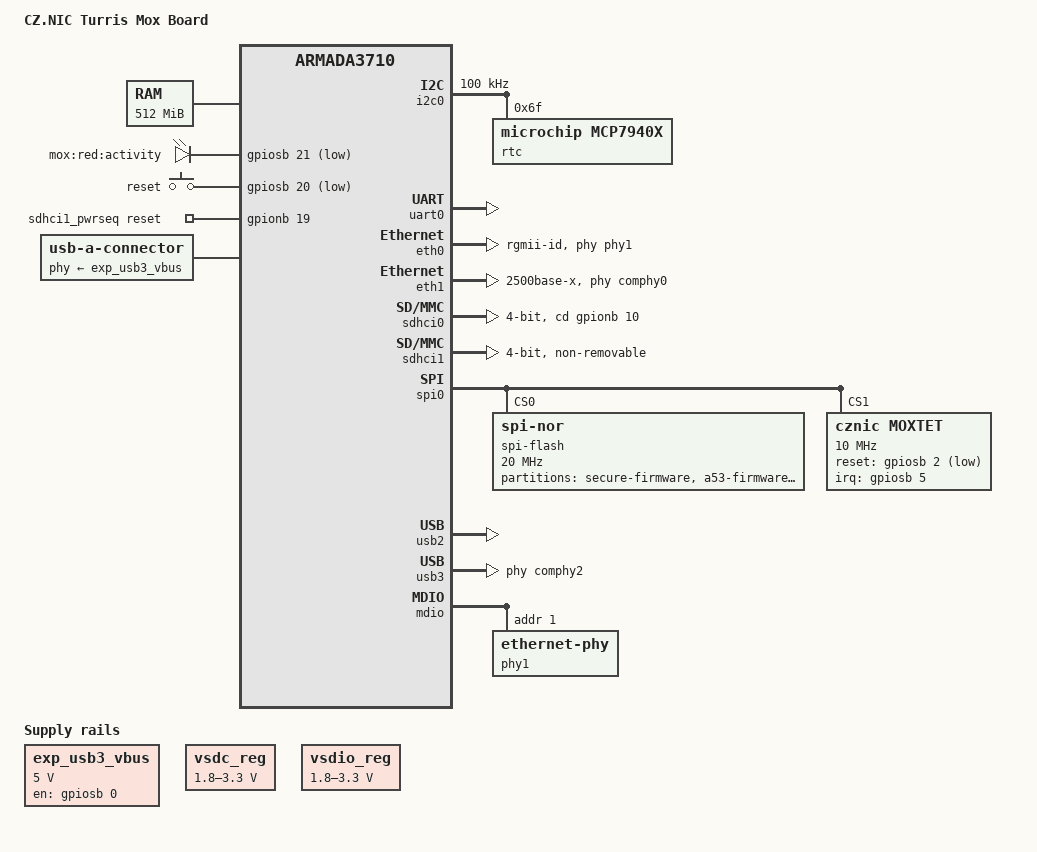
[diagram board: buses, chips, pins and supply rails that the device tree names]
// SPDX-License-Identifier: (GPL-2.0+ OR MIT)
/*
 * Device Tree file for CZ.NIC Turris Mox Board
 * 2019 by Marek Behún <kabel@kernel.org>
 */

/dts-v1/;

#include <dt-bindings/bus/moxtet.h>
#include <dt-bindings/gpio/gpio.h>
#include <dt-bindings/input/input.h>
#include "armada-372x.dtsi"

/ {
	model = "CZ.NIC Turris Mox Board";
	compatible = "cznic,turris-mox", "marvell,armada3720",
		     "marvell,armada3710";

	aliases {
		spi0 = &spi0;
		ethernet1 = &eth1;
		mmc0 = &sdhci0;
		mmc1 = &sdhci1;
	};

	chosen {
		stdout-path = "serial0:115200n8";
	};

	memory@0 {
		device_type = "memory";
		reg = <0x00000000 0x00000000 0x00000000 0x20000000>;
	};

	leds {
		compatible = "gpio-leds";
		red {
			label = "mox:red:activity";
			gpios = <&gpiosb 21 GPIO_ACTIVE_LOW>;
			linux,default-trigger = "default-on";
		};
	};

	gpio-keys {
		compatible = "gpio-keys";

		reset {
			label = "reset";
			linux,code = <KEY_RESTART>;
			gpios = <&gpiosb 20 GPIO_ACTIVE_LOW>;
			debounce-interval = <60>;
		};
	};

	exp_usb3_vbus: usb3-vbus {
		compatible = "regulator-fixed";
		regulator-name = "usb3-vbus";
		regulator-min-microvolt = <5000000>;
		regulator-max-microvolt = <5000000>;
		enable-active-high;
		regulator-always-on;
		gpio = <&gpiosb 0 GPIO_ACTIVE_HIGH>;
	};

	vsdc_reg: vsdc-reg {
		compatible = "regulator-gpio";
		regulator-name = "vsdc";
		regulator-min-microvolt = <1800000>;
		regulator-max-microvolt = <3300000>;
		regulator-boot-on;

		gpios = <&gpiosb 23 GPIO_ACTIVE_HIGH>;
		gpios-states = <0>;
		states = <1800000 0x1
			  3300000 0x0>;
		enable-active-high;
	};

	vsdio_reg: vsdio-reg {
		compatible = "regulator-gpio";
		regulator-name = "vsdio";
		regulator-min-microvolt = <1800000>;
		regulator-max-microvolt = <3300000>;
		regulator-boot-on;

		gpios = <&gpiosb 22 GPIO_ACTIVE_HIGH>;
		gpios-states = <0>;
		states = <1800000 0x1
			  3300000 0x0>;
		enable-active-high;
	};

	sdhci1_pwrseq: sdhci1-pwrseq {
		compatible = "mmc-pwrseq-simple";
		reset-gpios = <&gpionb 19 GPIO_ACTIVE_HIGH>;
		status = "okay";
	};

	sfp: sfp {
		compatible = "sff,sfp";
		i2c-bus = <&i2c0>;
		los-gpio = <&moxtet_sfp 0 GPIO_ACTIVE_HIGH>;
		tx-fault-gpio = <&moxtet_sfp 1 GPIO_ACTIVE_HIGH>;
		mod-def0-gpio = <&moxtet_sfp 2 GPIO_ACTIVE_LOW>;
		tx-disable-gpio = <&moxtet_sfp 4 GPIO_ACTIVE_HIGH>;
		rate-select0-gpio = <&moxtet_sfp 5 GPIO_ACTIVE_HIGH>;
		maximum-power-milliwatt = <3000>;

		/* enabled by U-Boot if SFP module is present */
		status = "disabled";
	};

	firmware {
		armada-3700-rwtm {
			compatible = "marvell,armada-3700-rwtm-firmware", "cznic,turris-mox-rwtm";
		};
	};
};

&i2c0 {
	pinctrl-names = "default";
	pinctrl-0 = <&i2c1_pins>;
	clock-frequency = <100000>;
	status = "okay";

	rtc@6f {
		compatible = "microchip,mcp7940x";
		reg = <0x6f>;
	};
};

&pcie0 {
	pinctrl-names = "default";
	pinctrl-0 = <&pcie_reset_pins &pcie_clkreq_pins>;
	status = "okay";
	reset-gpios = <&gpiosb 3 GPIO_ACTIVE_LOW>;

	/* enabled by U-Boot if PCIe module is present */
	status = "disabled";
};

&uart0 {
	status = "okay";
};

&eth0 {
	pinctrl-names = "default";
	pinctrl-0 = <&rgmii_pins>;
	phy-mode = "rgmii-id";
	phy-handle = <&phy1>;
	status = "okay";
};

&eth1 {
	phy-mode = "2500base-x";
	managed = "in-band-status";
	phys = <&comphy0 1>;
};

&sdhci0 {
	wp-inverted;
	bus-width = <4>;
	cd-gpios = <&gpionb 10 GPIO_ACTIVE_HIGH>;
	vqmmc-supply = <&vsdc_reg>;
	marvell,pad-type = "sd";
	status = "okay";
};

&sdhci1 {
	pinctrl-names = "default";
	pinctrl-0 = <&sdio_pins>;
	non-removable;
	bus-width = <4>;
	marvell,pad-type = "sd";
	vqmmc-supply = <&vsdio_reg>;
	mmc-pwrseq = <&sdhci1_pwrseq>;
	/* forbid SDR104 for FCC purposes */
	sdhci-caps-mask = <0x2 0x0>;
	status = "okay";
};

&spi0 {
	status = "okay";
	pinctrl-names = "default";
	pinctrl-0 = <&spi_quad_pins &spi_cs1_pins>;
	assigned-clocks = <&nb_periph_clk 7>;
	assigned-clock-parents = <&tbg 1>;
	assigned-clock-rates = <20000000>;

	spi-flash@0 {
		#address-cells = <1>;
		#size-cells = <1>;
		compatible = "jedec,spi-nor";
		reg = <0>;
		spi-max-frequency = <20000000>;

		partitions {
			compatible = "fixed-partitions";
			#address-cells = <1>;
			#size-cells = <1>;

			partition@0 {
				label = "secure-firmware";
				reg = <0x0 0x20000>;
			};

			partition@20000 {
				label = "a53-firmware";
				reg = <0x20000 0x160000>;
			};

			partition@180000 {
				label = "u-boot-env";
				reg = <0x180000 0x10000>;
			};

			partition@190000 {
				label = "Rescue system";
				reg = <0x190000 0x660000>;
			};

			partition@7f0000 {
				label = "dtb";
				reg = <0x7f0000 0x10000>;
			};
		};
	};

	moxtet: moxtet@1 {
		#address-cells = <1>;
		#size-cells = <0>;
		compatible = "cznic,moxtet";
		reg = <1>;
		reset-gpios = <&gpiosb 2 GPIO_ACTIVE_LOW>;
		spi-max-frequency = <10000000>;
		spi-cpol;
		spi-cpha;
		interrupt-controller;
		#interrupt-cells = <1>;
		interrupt-parent = <&gpiosb>;
		interrupts = <5 IRQ_TYPE_EDGE_FALLING>;
		status = "okay";

		moxtet_sfp: gpio@0 {
			compatible = "cznic,moxtet-gpio";
			gpio-controller;
			#gpio-cells = <2>;
			reg = <0>;
			status = "disabled";
		};
	};
};

&usb2 {
	status = "okay";
};

&comphy2 {
	connector {
		compatible = "usb-a-connector";
		phy-supply = <&exp_usb3_vbus>;
	};
};

&usb3 {
	status = "okay";
	phys = <&comphy2 0>;
};

&mdio {
	pinctrl-names = "default";
	pinctrl-0 = <&smi_pins>;
	status = "okay";

	phy1: ethernet-phy@1 {
		reg = <1>;
	};

	/* switch nodes are enabled by U-Boot if modules are present */
	switch0@10 {
		compatible = "marvell,mv88e6190";
		reg = <0x10 0>;
		dsa,member = <0 0>;
		interrupt-parent = <&moxtet>;
		interrupts = <MOXTET_IRQ_PERIDOT(0)>;
		status = "disabled";

		mdio {
			#address-cells = <1>;
			#size-cells = <0>;

			switch0phy1: switch0phy1@1 {
				reg = <0x1>;
			};

			switch0phy2: switch0phy2@2 {
				reg = <0x2>;
			};

			switch0phy3: switch0phy3@3 {
				reg = <0x3>;
			};

			switch0phy4: switch0phy4@4 {
				reg = <0x4>;
			};

			switch0phy5: switch0phy5@5 {
				reg = <0x5>;
			};

			switch0phy6: switch0phy6@6 {
				reg = <0x6>;
			};

			switch0phy7: switch0phy7@7 {
				reg = <0x7>;
			};

			switch0phy8: switch0phy8@8 {
				reg = <0x8>;
			};
		};

		ports {
			#address-cells = <1>;
			#size-cells = <0>;

			port@1 {
				reg = <0x1>;
				label = "lan1";
				phy-handle = <&switch0phy1>;
			};

			port@2 {
				reg = <0x2>;
				label = "lan2";
				phy-handle = <&switch0phy2>;
			};

			port@3 {
				reg = <0x3>;
				label = "lan3";
				phy-handle = <&switch0phy3>;
			};

			port@4 {
				reg = <0x4>;
				label = "lan4";
				phy-handle = <&switch0phy4>;
			};

			port@5 {
				reg = <0x5>;
				label = "lan5";
				phy-handle = <&switch0phy5>;
			};

			port@6 {
				reg = <0x6>;
				label = "lan6";
				phy-handle = <&switch0phy6>;
			};

			port@7 {
				reg = <0x7>;
				label = "lan7";
				phy-handle = <&switch0phy7>;
			};

			port@8 {
				reg = <0x8>;
				label = "lan8";
				phy-handle = <&switch0phy8>;
			};

			port@9 {
				reg = <0x9>;
				label = "cpu";
				ethernet = <&eth1>;
				phy-mode = "2500base-x";
				managed = "in-band-status";
			};

			switch0port10: port@a {
				reg = <0xa>;
				label = "dsa";
				phy-mode = "2500base-x";
				managed = "in-band-status";
				link = <&switch1port9 &switch2port9>;
				status = "disabled";
			};

			port-sfp@a {
				reg = <0xa>;
				label = "sfp";
				sfp = <&sfp>;
				phy-mode = "sgmii";
				managed = "in-band-status";
				status = "disabled";
			};
		};
	};

	switch0@2 {
		compatible = "marvell,mv88e6085";
		reg = <0x2 0>;
		dsa,member = <0 0>;
		interrupt-parent = <&moxtet>;
		interrupts = <MOXTET_IRQ_TOPAZ>;
		status = "disabled";

		mdio {
			#address-cells = <1>;
			#size-cells = <0>;

			switch0phy1_topaz: switch0phy1@11 {
				reg = <0x11>;
			};

			switch0phy2_topaz: switch0phy2@12 {
				reg = <0x12>;
			};

			switch0phy3_topaz: switch0phy3@13 {
				reg = <0x13>;
			};

			switch0phy4_topaz: switch0phy4@14 {
				reg = <0x14>;
			};
		};

		ports {
			#address-cells = <1>;
			#size-cells = <0>;

			port@1 {
				reg = <0x1>;
				label = "lan1";
				phy-handle = <&switch0phy1_topaz>;
			};

			port@2 {
				reg = <0x2>;
				label = "lan2";
				phy-handle = <&switch0phy2_topaz>;
			};

			port@3 {
				reg = <0x3>;
				label = "lan3";
				phy-handle = <&switch0phy3_topaz>;
			};

			port@4 {
				reg = <0x4>;
				label = "lan4";
				phy-handle = <&switch0phy4_topaz>;
			};

			port@5 {
				reg = <0x5>;
				label = "cpu";
				phy-mode = "2500base-x";
				managed = "in-band-status";
				ethernet = <&eth1>;
			};
		};
	};

	switch1@11 {
		compatible = "marvell,mv88e6190";
		reg = <0x11 0>;
		dsa,member = <0 1>;
		interrupt-parent = <&moxtet>;
		interrupts = <MOXTET_IRQ_PERIDOT(1)>;
		status = "disabled";

		mdio {
			#address-cells = <1>;
			#size-cells = <0>;

			switch1phy1: switch1phy1@1 {
				reg = <0x1>;
			};

			switch1phy2: switch1phy2@2 {
				reg = <0x2>;
			};

			switch1phy3: switch1phy3@3 {
				reg = <0x3>;
			};

			switch1phy4: switch1phy4@4 {
				reg = <0x4>;
			};

			switch1phy5: switch1phy5@5 {
				reg = <0x5>;
			};

			switch1phy6: switch1phy6@6 {
				reg = <0x6>;
			};

			switch1phy7: switch1phy7@7 {
				reg = <0x7>;
			};

			switch1phy8: switch1phy8@8 {
				reg = <0x8>;
			};
		};

		ports {
			#address-cells = <1>;
			#size-cells = <0>;

			port@1 {
				reg = <0x1>;
				label = "lan9";
				phy-handle = <&switch1phy1>;
			};

			port@2 {
				reg = <0x2>;
				label = "lan10";
				phy-handle = <&switch1phy2>;
			};

			port@3 {
				reg = <0x3>;
				label = "lan11";
				phy-handle = <&switch1phy3>;
			};

			port@4 {
				reg = <0x4>;
				label = "lan12";
				phy-handle = <&switch1phy4>;
			};

			port@5 {
				reg = <0x5>;
				label = "lan13";
				phy-handle = <&switch1phy5>;
			};

			port@6 {
				reg = <0x6>;
				label = "lan14";
				phy-handle = <&switch1phy6>;
			};

			port@7 {
				reg = <0x7>;
				label = "lan15";
				phy-handle = <&switch1phy7>;
			};

			port@8 {
				reg = <0x8>;
				label = "lan16";
				phy-handle = <&switch1phy8>;
			};

			switch1port9: port@9 {
				reg = <0x9>;
				label = "dsa";
				phy-mode = "2500base-x";
				managed = "in-band-status";
				link = <&switch0port10>;
			};

			switch1port10: port@a {
				reg = <0xa>;
				label = "dsa";
				phy-mode = "2500base-x";
				managed = "in-band-status";
				link = <&switch2port9>;
				status = "disabled";
			};

			port-sfp@a {
				reg = <0xa>;
				label = "sfp";
				sfp = <&sfp>;
				phy-mode = "sgmii";
				managed = "in-band-status";
				status = "disabled";
			};
		};
	};

	switch1@2 {
		compatible = "marvell,mv88e6085";
		reg = <0x2 0>;
		dsa,member = <0 1>;
		interrupt-parent = <&moxtet>;
		interrupts = <MOXTET_IRQ_TOPAZ>;
		status = "disabled";

		mdio {
			#address-cells = <1>;
			#size-cells = <0>;

			switch1phy1_topaz: switch1phy1@11 {
				reg = <0x11>;
			};

			switch1phy2_topaz: switch1phy2@12 {
				reg = <0x12>;
			};

			switch1phy3_topaz: switch1phy3@13 {
				reg = <0x13>;
			};

			switch1phy4_topaz: switch1phy4@14 {
				reg = <0x14>;
			};
		};

		ports {
			#address-cells = <1>;
			#size-cells = <0>;

			port@1 {
				reg = <0x1>;
				label = "lan9";
				phy-handle = <&switch1phy1_topaz>;
			};

			port@2 {
				reg = <0x2>;
				label = "lan10";
				phy-handle = <&switch1phy2_topaz>;
			};

			port@3 {
				reg = <0x3>;
				label = "lan11";
				phy-handle = <&switch1phy3_topaz>;
			};

			port@4 {
				reg = <0x4>;
				label = "lan12";
				phy-handle = <&switch1phy4_topaz>;
			};

			port@5 {
				reg = <0x5>;
				label = "dsa";
				phy-mode = "2500base-x";
				managed = "in-band-status";
				link = <&switch0port10>;
			};
		};
	};

	switch2@12 {
		compatible = "marvell,mv88e6190";
		reg = <0x12 0>;
		dsa,member = <0 2>;
		interrupt-parent = <&moxtet>;
		interrupts = <MOXTET_IRQ_PERIDOT(2)>;
		status = "disabled";

		mdio {
			#address-cells = <1>;
			#size-cells = <0>;

			switch2phy1: switch2phy1@1 {
				reg = <0x1>;
			};

			switch2phy2: switch2phy2@2 {
				reg = <0x2>;
			};

			switch2phy3: switch2phy3@3 {
				reg = <0x3>;
			};

			switch2phy4: switch2phy4@4 {
				reg = <0x4>;
			};

			switch2phy5: switch2phy5@5 {
				reg = <0x5>;
			};

			switch2phy6: switch2phy6@6 {
				reg = <0x6>;
			};

			switch2phy7: switch2phy7@7 {
				reg = <0x7>;
			};

			switch2phy8: switch2phy8@8 {
				reg = <0x8>;
			};
		};

		ports {
			#address-cells = <1>;
			#size-cells = <0>;

			port@1 {
				reg = <0x1>;
				label = "lan17";
				phy-handle = <&switch2phy1>;
			};

			port@2 {
				reg = <0x2>;
				label = "lan18";
				phy-handle = <&switch2phy2>;
			};

			port@3 {
				reg = <0x3>;
				label = "lan19";
				phy-handle = <&switch2phy3>;
			};

			port@4 {
				reg = <0x4>;
				label = "lan20";
				phy-handle = <&switch2phy4>;
			};

			port@5 {
				reg = <0x5>;
				label = "lan21";
				phy-handle = <&switch2phy5>;
			};

			port@6 {
				reg = <0x6>;
				label = "lan22";
				phy-handle = <&switch2phy6>;
			};

			port@7 {
				reg = <0x7>;
				label = "lan23";
				phy-handle = <&switch2phy7>;
			};

			port@8 {
				reg = <0x8>;
				label = "lan24";
				phy-handle = <&switch2phy8>;
			};

			switch2port9: port@9 {
				reg = <0x9>;
				label = "dsa";
				phy-mode = "2500base-x";
				managed = "in-band-status";
				link = <&switch1port10 &switch0port10>;
			};

			port-sfp@a {
				reg = <0xa>;
				label = "sfp";
				sfp = <&sfp>;
				phy-mode = "sgmii";
				managed = "in-band-status";
				status = "disabled";
			};
		};
	};

	switch2@2 {
		compatible = "marvell,mv88e6085";
		reg = <0x2 0>;
		dsa,member = <0 2>;
		interrupt-parent = <&moxtet>;
		interrupts = <MOXTET_IRQ_TOPAZ>;
		status = "disabled";

		mdio {
			#address-cells = <1>;
			#size-cells = <0>;

			switch2phy1_topaz: switch2phy1@11 {
				reg = <0x11>;
			};

			switch2phy2_topaz: switch2phy2@12 {
				reg = <0x12>;
			};

			switch2phy3_topaz: switch2phy3@13 {
				reg = <0x13>;
			};

			switch2phy4_topaz: switch2phy4@14 {
				reg = <0x14>;
			};
		};

		ports {
			#address-cells = <1>;
			#size-cells = <0>;

			port@1 {
				reg = <0x1>;
				label = "lan17";
				phy-handle = <&switch2phy1_topaz>;
			};

			port@2 {
				reg = <0x2>;
				label = "lan18";
				phy-handle = <&switch2phy2_topaz>;
			};

			port@3 {
				reg = <0x3>;
				label = "lan19";
				phy-handle = <&switch2phy3_topaz>;
			};

			port@4 {
				reg = <0x4>;
				label = "lan20";
				phy-handle = <&switch2phy4_topaz>;
			};

			port@5 {
				reg = <0x5>;
				label = "dsa";
				phy-mode = "2500base-x";
				managed = "in-band-status";
				link = <&switch1port10 &switch0port10>;
			};
		};
	};
};
